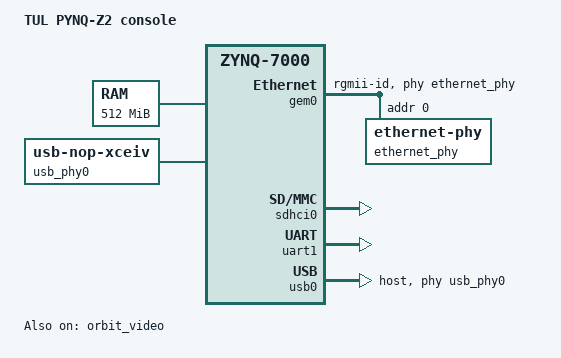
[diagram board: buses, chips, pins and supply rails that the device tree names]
// SPDX-License-Identifier: GPL-2.0
/*
 * TUL PYNQ-Z2, console configuration.
 *
 * Based on the mainline ZedBoard device tree (same PS peripherals), with
 * the reserved frame buffer and the UIO node for the video registers.
 */

/dts-v1/;
#include "zynq-7000.dtsi"

/ {
	model = "TUL PYNQ-Z2 console";
	compatible = "tul,pynq-z2", "xlnx,zynq-7000";

	aliases {
		ethernet0 = &gem0;
		serial0 = &uart1;
		mmc0 = &sdhci0;
	};

	memory@0 {
		device_type = "memory";
		reg = <0x0 0x20000000>;
	};

	reserved-memory {
		#address-cells = <1>;
		#size-cells = <1>;
		ranges;

		/* 256x240 RGB565, written by the CPU and read by the PL. */
		orbit_fb: framebuffer@1f000000 {
			reg = <0x1f000000 0x40000>;
			no-map;
		};
	};

	chosen {
		bootargs = "console=ttyPS0,115200 root=/dev/mmcblk0p2 rw rootwait uio_pdrv_genirq.of_id=generic-uio";
		stdout-path = "serial0:115200n8";
	};

	/* Video registers, mapped by the fbdemo/emulator through /dev/uio0. */
	orbit_video: orbit-video@40000000 {
		compatible = "generic-uio";
		reg = <0x40000000 0x1000>;
		status = "okay";
	};

	usb_phy0: phy0 {
		compatible = "usb-nop-xceiv";
		#phy-cells = <0>;
	};
};

&clkc {
	ps-clk-frequency = <33333333>;
};

&gem0 {
	status = "okay";
	phy-mode = "rgmii-id";
	phy-handle = <&ethernet_phy>;

	ethernet_phy: ethernet-phy@0 {
		reg = <0>;
		device_type = "ethernet-phy";
	};
};

&sdhci0 {
	status = "okay";
};

&uart1 {
	status = "okay";
};

&usb0 {
	status = "okay";
	dr_mode = "host";
	usb-phy = <&usb_phy0>;
};
